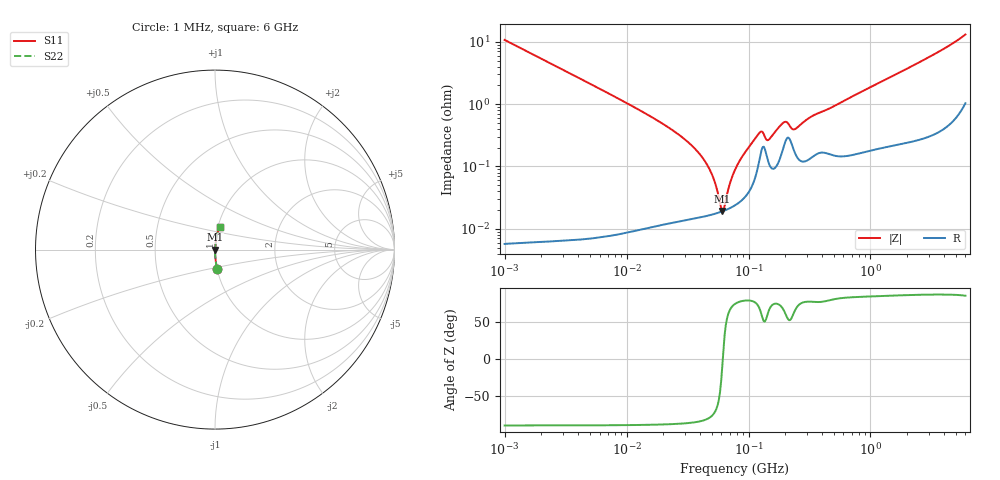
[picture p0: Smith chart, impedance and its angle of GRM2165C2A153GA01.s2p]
!Murata Part Number: GRM2165C2A153GA01
!These Parameters are Measured in Series Mode Connection
!Data Generated on Mar 30, 2021
!  o--ll--o
!Port1  Port2
!  o------o
!Operation Temp=25[degC], DC Bias Voltage=0[V]
!Freq. Start=1000[kHz] Stop=6[GHz] 401[Steps]
# Hz S RI R 50
!Freq.(Hz) S11(Real) S11(Imag) S21(Real) S21(Imag) S12(Real) S12(Imag) S22(Real) S22(Imag)
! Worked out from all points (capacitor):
!   401 points, 1 MHz to 6 GHz, reference 50 ohm
!   read as one part in series: C = 14.8 nF near 1.044 MHz
!   lowest |Z| = 19.3 mohm at 60.98 MHz (marker M1)
!   series resonance near 61.49 MHz, so ESL is about 450 pH
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1000000  0.0115 -0.1061  0.9885 0.1061  0.9885 0.1061  0.0115 -0.1061
4293785  0.000686 -0.0249  0.9993 0.0249  0.9993 0.0249  0.000686 -0.0249
1.843659e7  0.00014 -0.00528  0.9999 0.00528  0.9999 0.00528  0.00014 -0.00528
3.040356e7  0.000144 -0.00266  0.9999 0.00266  0.9999 0.00266  0.000144 -0.00266
4.213132e7  0.000157 -0.00136  0.9998 0.00136  0.9998 0.00136  0.000157 -0.00136
5.013812e7  0.000169 -0.000725  0.9998 0.000725  0.9998 0.000725  0.000169 -0.000725
5.351853e7  0.000175 -0.000493  0.9998 0.000493  0.9998 0.000493  0.000175 -0.000493
5.838291e7  0.000185 -0.000184  0.9998 0.000184  0.9998 0.000184  0.000185 -0.000184
6.097846e7  0.00019 -2.95e-05  0.9998 2.95e-05  0.9998 2.95e-05  0.00019 -2.95e-05
6.368941e7  0.000197 0.000126  0.9998 -0.000126  0.9998 -0.000126  0.000197 0.000126
7.100585e7  0.000217 0.000522  0.9998 -0.000522  0.9998 -0.000522  0.000217 0.000522
7.745967e7  0.000239 0.000852  0.9998 -0.000852  0.9998 -0.000852  0.000239 0.000852
9.019724e7  0.000302 0.00148  0.9997 -0.00148  0.9997 -0.00148  0.000302 0.00148
1.223006e8  0.00123 0.0032  0.9988 -0.0032  0.9988 -0.0032  0.00123 0.0032
1.277378e8  0.00182 0.00316  0.9982 -0.00316  0.9982 -0.00316  0.00182 0.00316
1.455431e8  0.00118 0.00239  0.9988 -0.00239  0.9988 -0.00239  0.00118 0.00239
1.930997e8  0.00201 0.00462  0.998 -0.00462  0.998 -0.00462  0.00201 0.00462
2.061188e8  0.00283 0.00428  0.9972 -0.00428  0.9972 -0.00428  0.00283 0.00428
2.400133e8  0.00167 0.0036  0.9983 -0.0036  0.9983 -0.0036  0.00167 0.0036
3.325952e8  0.00145 0.00626  0.9986 -0.00626  0.9986 -0.00626  0.00145 0.00626
1.428092e9  0.00279 0.0264  0.9972 -0.0264  0.9972 -0.0264  0.00279 0.0264
6e9  0.0266 0.126  0.9734 -0.126  0.9734 -0.126  0.0266 0.126
